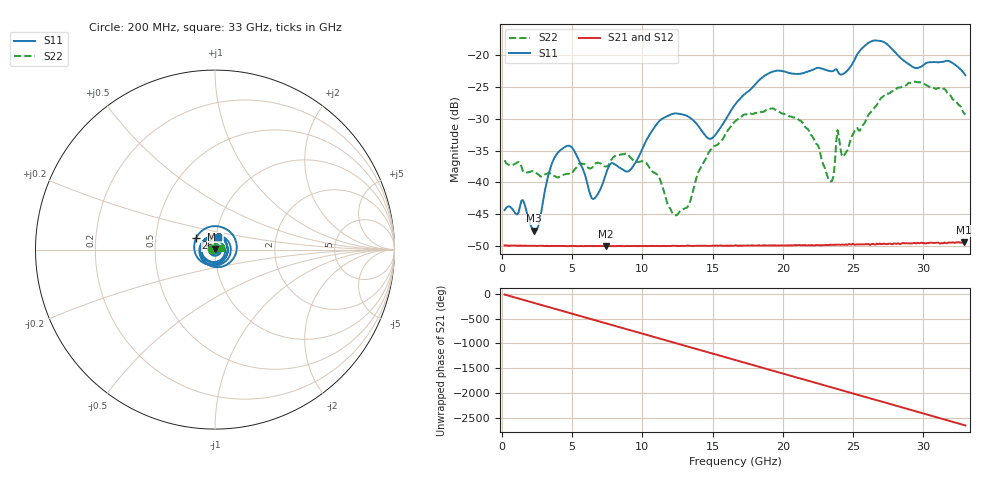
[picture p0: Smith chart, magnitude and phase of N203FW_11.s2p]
# GHZ S RI R 50
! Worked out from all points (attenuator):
!   329 points, 200 MHz to 33 GHz, reference 50 ohm
!   highest |S21| = -49.45 dB at 32.9 GHz (marker M1); lowest = -50.1 dB at 7.4 GHz (marker M2)
!   lowest |S11| = -47.6 dB at 2.3 GHz (marker M3), VSWR 1.01, Z = 50.1 + j0.392 ohm
!   |S11| at or under -10 dB: start of sweep to end of sweep
!   |S22| runs from -45.2 to -24.1 dB; largest |S21 - S12| = 8.8e-05
!   S11 on the Smith chart (normalised r, x): 200 MHz: 1.01, +0.00; 26 GHz: 0.80, +0.10; 33 GHz: 1.03, +0.14
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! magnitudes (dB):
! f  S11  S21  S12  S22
! 200 MHz  -44.4  -50.0  -49.9  -36.6
! 1.5 GHz  -42.8  -50.0  -50.0  -38.2
! 2.3 GHz  -47.6  -50.0  -50.0  -38.4
! 3.9 GHz  -35.6  -50.0  -50.0  -39.2
! 5.7 GHz  -37.5  -50.1  -50.0  -37.1
! 6.5 GHz  -42.6  -50.1  -50.0  -37.5
! 7.4 GHz  -38.8  -50.1  -50.0  -37.5
! 9.1 GHz  -38.2  -50.0  -50.0  -35.9
! 11.2 GHz  -30.4  -50.1  -50.0  -39.2
! 12.2 GHz  -29.2  -50.0  -50.0  -45.0
! 13.2 GHz  -29.6  -50.0  -50.0  -44.0
! 14.9 GHz  -33.1  -50.0  -50.0  -34.8
! 16.6 GHz  -27.8  -50.0  -50.0  -30.4
! 19.3 GHz  -22.6  -49.9  -50.0  -28.3
! 22.1 GHz  -22.3  -49.9  -49.9  -32.8
! 23.4 GHz  -22.5  -49.8  -49.9  -39.9
! 23.9 GHz  -22.5  -49.9  -49.9  -31.8
! 24.3 GHz  -22.9  -49.8  -49.8  -36.0
! 26 GHz  -18.2  -49.8  -49.7  -29.8
! 27.6 GHz  -18.6  -49.7  -49.7  -26.0
! 32.9 GHz  -22.8  -49.4  -49.4  -29.2
! 33 GHz  -23.1  -49.5  -49.5  -29.3
